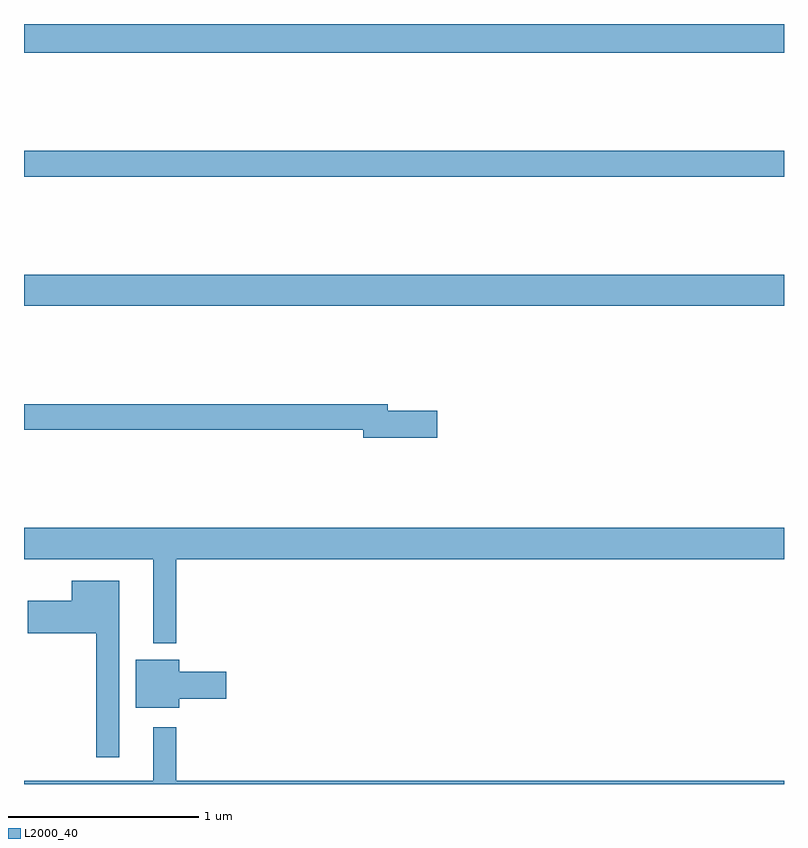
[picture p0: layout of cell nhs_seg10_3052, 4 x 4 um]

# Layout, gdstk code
import gdstk
lib = gdstk.Library(unit=1e-6, precision=1e-09)
def R(c, l, rs):  # rectangles x0, y0, x1, y1
    for r in rs: c.add(gdstk.rectangle(r[:2], r[2:], *l))
def P(c, l, *ps):  # polygons
    for p in ps: c.add(gdstk.Polygon(p, *l))
L2000_40 = (2000, 40)

nhs_seg10_3052 = lib.new_cell('nhs_seg10_3052')
R(nhs_seg10_3052, L2000_40, [(277,1267.016,281,1267.18), (277,1267.696,281,1267.832), (277,1268.348,281,1268.5)])
P(nhs_seg10_3052, L2000_40, [(279.175,1266.464),(278.914,1266.464),(278.914,1266.5),(277,1266.5),(277,1266.364),(278.786,1266.364),(278.786,1266.322),(279.175,1266.322)],
  [(277.801,1265.684),(281,1265.684),(281,1265.848),(277,1265.848),(277,1265.684),(277.679,1265.684),(277.679,1265.24),(277.801,1265.24)],
  [(277.501,1265.569),(277.25,1265.569),(277.25,1265.464),(277.02,1265.464),(277.02,1265.294),(277.38,1265.294),(277.38,1264.641),(277.501,1264.641)],
  [(277.816,1264.948),(278.065,1264.948),(278.065,1265.09),(277.816,1265.09),(277.816,1265.155),(277.589,1265.155),(277.589,1264.901),(277.816,1264.901)],
  [(277.801,1264.798),(277.679,1264.798),(277.679,1264.516),(277,1264.516),(277,1264.5),(281,1264.5),(281,1264.516),(277.801,1264.516)])

lib.write_gds('nhs_seg10_3052.gds')
